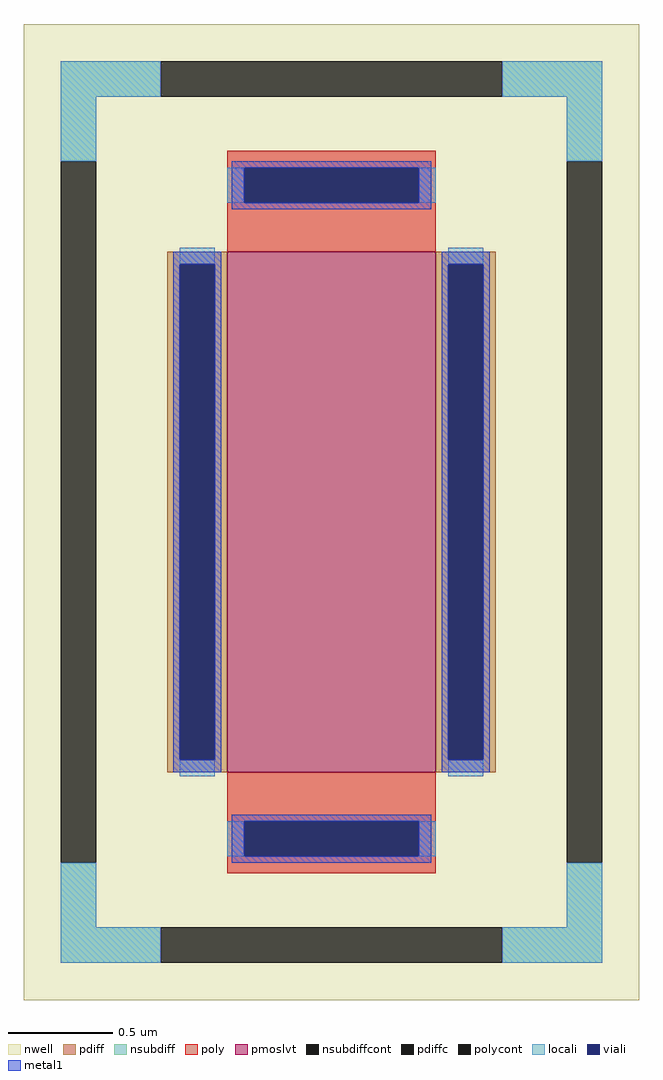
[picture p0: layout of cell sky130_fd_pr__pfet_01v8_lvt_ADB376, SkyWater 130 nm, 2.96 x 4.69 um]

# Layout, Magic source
magic
tech sky130A
magscale 1 2
<< nwell >>
rect -296 -469 296 469
<< pmoslvt >>
rect -100 -250 100 250
<< pdiff >>
rect -158 238 -100 250
rect -158 -238 -146 238
rect -112 -238 -100 238
rect -158 -250 -100 -238
rect 100 238 158 250
rect 100 -238 112 238
rect 146 -238 158 238
rect 100 -250 158 -238
<< pdiffc >>
rect -146 -238 -112 238
rect 112 -238 146 238
<< nsubdiff >>
rect -260 399 -164 433
rect 164 399 260 433
rect -260 337 -226 399
rect 226 337 260 399
rect -260 -399 -226 -337
rect 226 -399 260 -337
rect -260 -433 -164 -399
rect 164 -433 260 -399
<< nsubdiffcont >>
rect -164 399 164 433
rect -260 -337 -226 337
rect 226 -337 260 337
rect -164 -433 164 -399
<< poly >>
rect -100 331 100 347
rect -100 297 -84 331
rect 84 297 100 331
rect -100 250 100 297
rect -100 -297 100 -250
rect -100 -331 -84 -297
rect 84 -331 100 -297
rect -100 -347 100 -331
<< polycont >>
rect -84 297 84 331
rect -84 -331 84 -297
<< locali >>
rect -260 399 -164 433
rect 164 399 260 433
rect -260 337 -226 399
rect 226 337 260 399
rect -100 297 -84 331
rect 84 297 100 331
rect -146 238 -112 254
rect -146 -254 -112 -238
rect 112 238 146 254
rect 112 -254 146 -238
rect -100 -331 -84 -297
rect 84 -331 100 -297
rect -260 -399 -226 -337
rect 226 -399 260 -337
rect -260 -433 -164 -399
rect 164 -433 260 -399
<< viali >>
rect -84 297 84 331
rect -146 -238 -112 238
rect 112 -238 146 238
rect -84 -331 84 -297
<< metal1 >>
rect -96 331 96 337
rect -96 297 -84 331
rect 84 297 96 331
rect -96 291 96 297
rect -152 238 -106 250
rect -152 -238 -146 238
rect -112 -238 -106 238
rect -152 -250 -106 -238
rect 106 238 152 250
rect 106 -238 112 238
rect 146 -238 152 238
rect 106 -250 152 -238
rect -96 -297 96 -291
rect -96 -331 -84 -297
rect 84 -331 96 -297
rect -96 -337 96 -331
<< properties >>
string FIXED_BBOX -243 -416 243 416
string gencell sky130_fd_pr__pfet_01v8_lvt
string library sky130
string parameters w 2.5 l 1 m 1 nf 1 diffcov 100 polycov 100 guard 1 glc 1 grc 1 gtc 1 gbc 1 tbcov 100 rlcov 100 topc 1 botc 1 poverlap 0 doverlap 1 lmin 0.35 wmin 0.42 class mosfet compatible {sky130_fd_pr__pfet_01v8  sky130_fd_pr__pfet_01v8_lvt sky130_fd_pr__pfet_01v8_hvt  sky130_fd_pr__pfet_g5v0d10v5} full_metal 1 viasrc 100 viadrn 100 viagate 100 viagb 0 viagr 0 viagl 0 viagt 0
<< end >>
